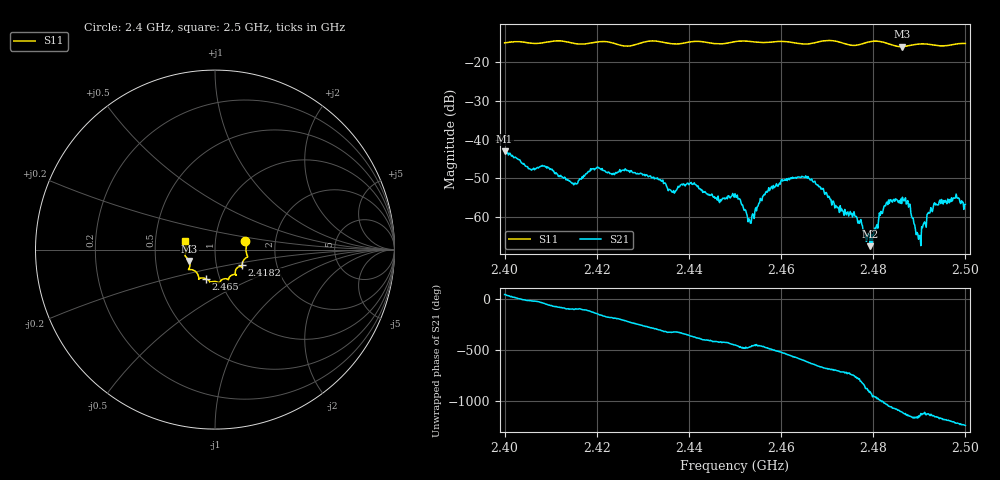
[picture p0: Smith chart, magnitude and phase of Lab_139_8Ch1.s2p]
# Hz S RI R 50
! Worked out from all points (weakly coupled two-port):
!   601 points, 2.4 GHz to 2.5 GHz, reference 50 ohm
!   highest |S21| = -43.06 dB at 2.4 GHz (marker M1); lowest = -67.4 dB at 2.4793 GHz (marker M2)
!   lowest |S11| = -16.1 dB at 2.4862 GHz (marker M3), VSWR 1.37, Z = 37.2 - j4.82 ohm
!   |S11| at or under -10 dB: start of sweep to end of sweep
!   S12 and S22 are empty: the file has one direction only
!   S11 on the Smith chart (normalised r, x): 2.4 GHz: 1.40, +0.14; 2.4182 GHz: 1.33, -0.23; 2.465 GHz: 0.86, -0.28; 2.5 GHz: 0.71, +0.07
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2.4e9  0.1692 0.0471  0.00463 0.00529  0 0  0 0
2.405667e9  0.1737 0.0123  0.00407 -0.000795  0 0  0 0
2.415167e9  0.1641 -0.0532  -0.000389 -0.00271  0 0  0 0
2.416667e9  0.1548 -0.0683  -0.000388 -0.00307  0 0  0 0
2.418167e9  0.1501 -0.0853  -0.00144 -0.00362  0 0  0 0
2.433333e9  0.1177 -0.1409  0.00149 0.00269  0 0  0 0
2.4365e9  0.0954 -0.1417  0.00169 0.00125  0 0  0 0
2.440667e9  0.0753 -0.1661  0.00266 -0.000176  0 0  0 0
2.4465e9  0.0491 -0.1633  0.00073 -0.00143  0 0  0 0
2.45e9  0.0263 -0.1803  3.84e-05 -0.00201  0 0  0 0
2.453167e9  0.0181 -0.1826  -0.000307 -0.00087  0 0  0 0
2.457833e9  -0.0159 -0.1789  -0.00155 -0.00188  0 0  0 0
2.465e9  -0.0525 -0.1615  -0.00147 0.00293  0 0  0 0
2.466667e9  -0.0715 -0.1576  0.000257 0.0031  0 0  0 0
2.479333e9  -0.1444 -0.111  -0.000417 8.31e-05  0 0  0 0
2.483333e9  -0.1411 -0.0964  0.00151 0.000722  0 0  0 0
2.486167e9  -0.1436 -0.0633  0.00129 -0.000772  0 0  0 0
2.4875e9  -0.1526 -0.0503  0.000601 -0.00153  0 0  0 0
2.489833e9  -0.1653 -0.038  0.00018 -0.00049  0 0  0 0
2.4935e9  -0.1627 -0.0152  0.000286 -0.00141  0 0  0 0
2.498e9  -0.1661 0.0358  -0.00159 -0.0012  0 0  0 0
2.5e9  -0.1664 0.0467  -0.00141 -0.000389  0 0  0 0
